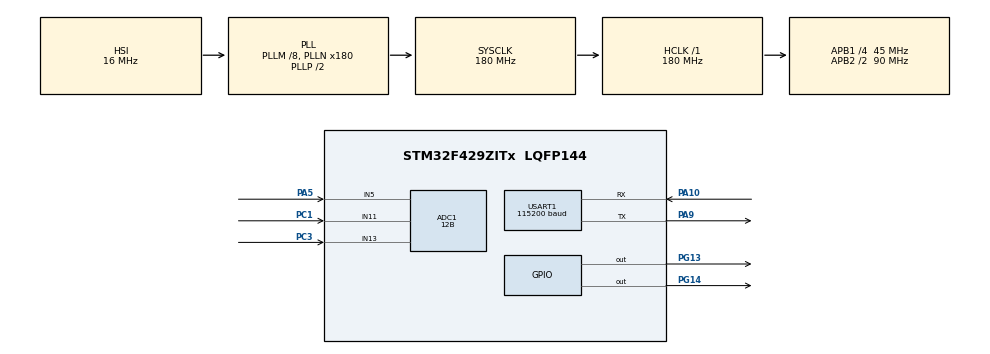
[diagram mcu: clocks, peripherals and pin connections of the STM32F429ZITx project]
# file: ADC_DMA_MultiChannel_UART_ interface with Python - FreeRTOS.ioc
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ADC1.Channel-0\#ChannelRegularConversion=ADC_CHANNEL_11
ADC1.Channel-3\#ChannelRegularConversion=ADC_CHANNEL_13
ADC1.Channel-4\#ChannelRegularConversion=ADC_CHANNEL_5
ADC1.ClockPrescaler=ADC_CLOCK_SYNC_PCLK_DIV4
ADC1.ContinuousConvMode=DISABLE
ADC1.DMAContinuousRequests=ENABLE
ADC1.EOCSelection=ADC_EOC_SINGLE_CONV
ADC1.ExternalTrigConv=ADC_EXTERNALTRIGCONV_T8_TRGO
ADC1.NbrOfConversion=3
ADC1.NbrOfConversionFlag=1
ADC1.Rank-0\#ChannelRegularConversion=1
ADC1.Rank-3\#ChannelRegularConversion=2
ADC1.Rank-4\#ChannelRegularConversion=3
ADC1.Resolution=ADC_RESOLUTION_12B
ADC1.SamplingTime-0\#ChannelRegularConversion=ADC_SAMPLETIME_3CYCLES
ADC1.SamplingTime-3\#ChannelRegularConversion=ADC_SAMPLETIME_3CYCLES
ADC1.SamplingTime-4\#ChannelRegularConversion=ADC_SAMPLETIME_3CYCLES
ADC1.master=1
Dma.ADC1.0.Direction=DMA_PERIPH_TO_MEMORY
Dma.ADC1.0.FIFOMode=DMA_FIFOMODE_DISABLE
Dma.ADC1.0.Instance=DMA2_Stream0
Dma.ADC1.0.MemDataAlignment=DMA_MDATAALIGN_HALFWORD
Dma.ADC1.0.MemInc=DMA_MINC_ENABLE
Dma.ADC1.0.Mode=DMA_CIRCULAR
Dma.ADC1.0.PeriphDataAlignment=DMA_PDATAALIGN_HALFWORD
Dma.ADC1.0.PeriphInc=DMA_PINC_DISABLE
Dma.ADC1.0.Priority=DMA_PRIORITY_LOW
Dma.Request0=ADC1
FREERTOS.CountingSemaphores01=CountingSem1,3,Dynamic,NULL
FREERTOS.Events01=Event,Dynamic,NULL
FREERTOS.Tasks01=Task1,24,128,StartTask1,Default,NULL,Dynamic,NULL,NULL;Task2,32,128,StartTask2,Default,NULL,Dynamic,NULL,NULL;Task3,40,128,StartTask3,Default,NULL,Dynamic,NULL,NULL
FREERTOS.configUSE_NEWLIB_REENTRANT=1
Mcu.Family=STM32F4
Mcu.Name=STM32F429ZITx
Mcu.Package=LQFP144
NVIC.ADC_IRQn=true\:5\:0\:true\:false\:true\:true\:true\:true\:true
NVIC.DMA2_Stream0_IRQn=true\:5\:0\:false\:false\:true\:true\:false\:true\:true
NVIC.PriorityGroup=NVIC_PRIORITYGROUP_4
NVIC.TIM6_DAC_IRQn=true\:0\:0\:true\:false\:true\:false\:false\:true\:true
NVIC.TimeBase=TIM6_DAC_IRQn
NVIC.TimeBaseIP=TIM6
NVIC.USART1_IRQn=true\:5\:0\:true\:false\:true\:true\:true\:true\:true
PA10.Mode=Asynchronous
PA10.Signal=USART1_RX
PA5.Signal=ADCx_IN5
PA9.Mode=Asynchronous
PA9.Signal=USART1_TX
PC1.Signal=ADCx_IN11
PC3.Signal=ADCx_IN13
PG13.Signal=GPIO_Output
PG14.Signal=GPIO_Output
ProjectManager.HeapSize=0x200
ProjectManager.StackSize=0x400
ProjectManager.TargetToolchain=STM32CubeIDE
RCC.48MHZClocksFreq_Value=51428571.428571425
RCC.AHBFreq_Value=180000000
RCC.APB1CLKDivider=RCC_HCLK_DIV4
RCC.APB1Freq_Value=45000000
RCC.APB1TimFreq_Value=90000000
RCC.APB2CLKDivider=RCC_HCLK_DIV2
RCC.APB2Freq_Value=90000000
RCC.APB2TimFreq_Value=180000000
RCC.CortexFreq_Value=180000000
RCC.HCLKFreq_Value=180000000
RCC.HSE_VALUE=8000000
RCC.HSI_VALUE=16000000
RCC.LSE_VALUE=32768
RCC.PLLM=8
RCC.PLLN=180
RCC.PLLQ=7
RCC.SYSCLKFreq_VALUE=180000000
RCC.SYSCLKSource=RCC_SYSCLKSOURCE_PLLCLK
RCC.VCOOutputFreq_Value=360000000
SH.ADCx_IN11.0=ADC1_IN11,IN11
SH.ADCx_IN13.0=ADC1_IN13,IN13
SH.ADCx_IN5.0=ADC1_IN5,IN5
TIM8.Period=100-1
TIM8.Prescaler=18000-1
TIM8.TIM_MasterOutputTrigger=TIM_TRGO_UPDATE
USART1.BaudRate=115200
USART1.OverSampling=UART_OVERSAMPLING_8
USART1.VirtualMode=VM_ASYNC
VP_FREERTOS_VS_CMSIS_V2.Mode=CMSIS_V2
VP_SYS_VS_tim6.Mode=TIM6
VP_TIM8_VS_ClockSourceINT.Mode=Internal
board=STM32F429I-DISC1

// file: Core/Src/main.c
/* USER CODE BEGIN Header */
/**
  ******************************************************************************
  * @file           : main.c
  * @brief          : Main program body
  ******************************************************************************
  * @attention
  *
  * Copyright (c) 2024 STMicroelectronics.
  * All rights reserved.
  *
  * This software is licensed under terms that can be found in the LICENSE file
  * in the root directory of this software component.
  * If no LICENSE file comes with this software, it is provided AS-IS.
  *
  ******************************************************************************
  */

	/***************************** Tutorial Tags ******************************
	 ADC triggered by Timer
	 UART data communication to PC
	 Python for control STM32 and reading/ plotting data
	 FreeRTOS implmentation:
	 Tasks (priorities, states),
	 Events,
	 Queues,
	 Semaphores,
	 Memory pool
	 **************************************************************************/

	/* *************************************************************************
	* Application: ADC_DMA_MultiChannel_UART_ interface with Python - FreeRTOS
	*

    We repeat implementation of the previous project "ADC_DMA_MultiChannel_UART_ interface with Python"
    with FreeRTOS implementation.

    Configure three tasks (threads): one task with High priority is triggered with an interrupt
    sent from Python. This task start ADC and Timer for sampling three potentiometers. The second task
    set with Above normal priority convert the ADC data into float, and calculacte the average of 10
    measurements for each of the three ADC channels. The averaged data is sent in a memory queue to Task
    3, which set in normal priority that is resposnsible to send the average data via UART to PC, where
    Python code process and plot the data.

    Python is able to start or stop ADC acquisition via flags sent to MCU. (more information can be found from
    previous project with bare metal implementation)

    Demonstration of this project is shown with figures in the subfolder results of this project

    Python code can be found in the subfolder  "Python client"

    ****************************************************************************
    Calculation of specs used by this application:
    ADC freq  = APB2/4 = 90 MHz/4 = 22.5 MHz
    Max Sample rate for ADC = 22.5 MHz / (15 cycles) = 1.5 MS/s
    Max allowed freq timer for ADC trig = 1.5 M / N_Channels scanned
    Freq_Timer = 100 Hz.
    So for 1 scanned Channel: DMA for 10 measurements is 10 Hz
    for 3 scanned Channels: DMA for 30 measurements is 10 Hz
    because channels are sampled sequentially at ADC sampling rate. :-)
	***************************************************************************/

/* USER CODE END Header */
#include "main.h"
#include "cmsis_os.h"

/* USER CODE BEGIN Includes */
#include<math.h>
#include "stdio.h"
#include "string.h"

/* USER CODE END Includes */

/* USER CODE BEGIN PD */
/*Size of DMA buffer*/
#define length 30
/*Number of ADC Channels*/
#define NCh 3

#define FLAG 0x05
/* USER CODE END PD */

ADC_HandleTypeDef hadc1;
DMA_HandleTypeDef hdma_adc1;

TIM_HandleTypeDef htim8;

UART_HandleTypeDef huart1;

/********************************Definition tasks******************************/
osThreadId_t Task1Handle;
const osThreadAttr_t Task1_attributes = {
  .name = "Task1",
  .stack_size = 128 * 4,
  .priority = (osPriority_t) osPriorityNormal,
};

osThreadId_t Task2Handle;
const osThreadAttr_t Task2_attributes = {
  .name = "Task2",
  .stack_size = 128 * 4,
  .priority = (osPriority_t) osPriorityAboveNormal,
};

osThreadId_t Task3Handle;
const osThreadAttr_t Task3_attributes = {
  .name = "Task3",
  .stack_size = 128 * 4,
  .priority = (osPriority_t) osPriorityHigh,
};

/****************************  Definition Semaphopres  **************************/
osSemaphoreId_t CountingSem1Handle;
const osSemaphoreAttr_t CountingSem1_attributes = {
  .name = "CountingSem1",
};
/******************************** Definition Events  ***************************/
osEventFlagsId_t EventHandle;
const osEventFlagsAttr_t Event_attributes = {
  .name = "Event",
};

/********************************Definition queues******************************/
osMessageQueueId_t Queue1Handle;
osMessageQueueAttr_t Queue1_attributes = {
		.name = "Queue1",
};

/********************************Definition Memory pool***************************/
osMemoryPoolId_t MemoryPoolHandle;
osMemoryPoolAttr_t MemoryPool_attributes = {
		.name = "MemoryPool",
};

/* USER CODE BEGIN PV */
/*DMA Data buffer for ADC conversions*/
uint16_t  pData[length];

uint16_t counter = 0;

float ADC_Ave [NCh], Vref = 2.92;

float ADC_CONV [NCh];

/*Counter for number of end of conversions by the ADC for size of DMA buffer*/

/*Byte to be received from COM port by UART*/
uint8_t recData;
//uint8_t recData = 'g';

/* USER CODE END PV */

void SystemClock_Config(void);
static void MX_GPIO_Init(void);
static void MX_DMA_Init(void);
static void MX_USART1_UART_Init(void);
static void MX_ADC1_Init(void);
static void MX_TIM8_Init(void);
void StartTask1(void *argument);
void StartTask2(void *argument);
void StartTask3(void *argument);

/* USER CODE BEGIN 0 */
int _write(int file, char *ptr, int len){
	  int i = 0;
	  for (i=0; i<len; i++)
		  ITM_SendChar((*ptr++));
	  return len;
}
/* USER CODE END 0 */

int main(void)
{

  /* MCU Configuration--------------------------------------------------------*/

  /* Reset of all peripherals, Initializes the Flash interface and the Systick. */
  HAL_Init();

  /* Configure the system clock */
  SystemClock_Config();

  /* Initialize all configured peripherals */
  MX_GPIO_Init();
  MX_DMA_Init();
  MX_USART1_UART_Init();
  MX_ADC1_Init();
  MX_TIM8_Init();
  /* USER CODE BEGIN 2 */

  printf("PROGRAM START \n\r");
  // Clear timer update flag in case it is set at start
  if (__HAL_TIM_GET_FLAG(&htim8 , TIM_FLAG_UPDATE) != RESET)
  __HAL_TIM_CLEAR_FLAG(&htim8 , TIM_FLAG_UPDATE);

  /*Start UART in interrupt mode, to waiting for message from Python client */
  HAL_UART_Receive_IT(&huart1, &recData, 1);

  //HAL_TIM_Base_Start(&htim8);
//	  /*Start ADC with DMA*/
//	  /* Start ADC sampling using DMA */
  //HAL_ADC_Start_DMA(&hadc1, (uint32_t *) pData, length);

  /* USER CODE END 2 */

  /* Init scheduler */
  osKernelInitialize();

  /* Create the semaphores(s) */
  /* creation of CountingSem1 */

  /* USER CODE BEGIN RTOS_QUEUES */
  Queue1Handle =  osMessageQueueNew(1, sizeof(ADC_CONV), &Queue1_attributes);
  /* USER CODE END RTOS_QUEUES */

  /* Create the thread(s) */
  /* creation of Task1 */
  Task1Handle = osThreadNew(StartTask1, NULL, &Task1_attributes);

  /* creation of Task2 */
  Task2Handle = osThreadNew(StartTask2, NULL, &Task2_attributes);

  /* creation of Task3 */
  Task3Handle = osThreadNew(StartTask3, NULL, &Task3_attributes);

  /* Create the event(s) */
  /* creation of Event */
  EventHandle = osEventFlagsNew(&Event_attributes);

  /* Start scheduler */
  osKernelStart();

  /* We should never get here as control is now taken by the scheduler */
  /* Infinite loop */
  while (1)
  {

  }
}

void SystemClock_Config(void)
{
  RCC_OscInitTypeDef RCC_OscInitStruct = {0};
  RCC_ClkInitTypeDef RCC_ClkInitStruct = {0};

  /** Configure the main internal regulator output voltage
  */
  __HAL_RCC_PWR_CLK_ENABLE();
  __HAL_PWR_VOLTAGESCALING_CONFIG(PWR_REGULATOR_VOLTAGE_SCALE1);

  /** Initializes the RCC Oscillators according to the specified parameters
  * in the RCC_OscInitTypeDef structure.
  */
  RCC_OscInitStruct.OscillatorType = RCC_OSCILLATORTYPE_HSI;
  RCC_OscInitStruct.HSIState = RCC_HSI_ON;
  RCC_OscInitStruct.HSICalibrationValue = RCC_HSICALIBRATION_DEFAULT;
  RCC_OscInitStruct.PLL.PLLState = RCC_PLL_ON;
  RCC_OscInitStruct.PLL.PLLSource = RCC_PLLSOURCE_HSI;
  RCC_OscInitStruct.PLL.PLLM = 8;
  RCC_OscInitStruct.PLL.PLLN = 180;
  RCC_OscInitStruct.PLL.PLLP = RCC_PLLP_DIV2;
  RCC_OscInitStruct.PLL.PLLQ = 7;
  if (HAL_RCC_OscConfig(&RCC_OscInitStruct) != HAL_OK)
  {
    Error_Handler();
  }

  /** Activate the Over-Drive mode
  */
  if (HAL_PWREx_EnableOverDrive() != HAL_OK)
  {
    Error_Handler();
  }

  /** Initializes the CPU, AHB and APB buses clocks
  */
  RCC_ClkInitStruct.ClockType = RCC_CLOCKTYPE_HCLK|RCC_CLOCKTYPE_SYSCLK
                              |RCC_CLOCKTYPE_PCLK1|RCC_CLOCKTYPE_PCLK2;
  RCC_ClkInitStruct.SYSCLKSource = RCC_SYSCLKSOURCE_PLLCLK;
  RCC_ClkInitStruct.AHBCLKDivider = RCC_SYSCLK_DIV1;
  RCC_ClkInitStruct.APB1CLKDivider = RCC_HCLK_DIV4;
  RCC_ClkInitStruct.APB2CLKDivider = RCC_HCLK_DIV2;

  if (HAL_RCC_ClockConfig(&RCC_ClkInitStruct, FLASH_LATENCY_5) != HAL_OK)
  {
    Error_Handler();
  }
}

static void MX_ADC1_Init(void)
{

  ADC_ChannelConfTypeDef sConfig = {0};

  /** Configure the global features of the ADC (Clock, Resolution, Data Alignment and number of conversion)
  */
  hadc1.Instance = ADC1;
  hadc1.Init.ClockPrescaler = ADC_CLOCK_SYNC_PCLK_DIV4;
  hadc1.Init.Resolution = ADC_RESOLUTION_12B;
  hadc1.Init.ScanConvMode = ENABLE;
  hadc1.Init.ContinuousConvMode = DISABLE;
  hadc1.Init.DiscontinuousConvMode = DISABLE;
  hadc1.Init.ExternalTrigConvEdge = ADC_EXTERNALTRIGCONVEDGE_RISING;
  hadc1.Init.ExternalTrigConv = ADC_EXTERNALTRIGCONV_T8_TRGO;
  hadc1.Init.DataAlign = ADC_DATAALIGN_RIGHT;
  hadc1.Init.NbrOfConversion = 3;
  hadc1.Init.DMAContinuousRequests = ENABLE;
  hadc1.Init.EOCSelection = ADC_EOC_SINGLE_CONV;
  if (HAL_ADC_Init(&hadc1) != HAL_OK)
  {
    Error_Handler();
  }

  /** Configure for the selected ADC regular channel its corresponding rank in the sequencer and its sample time.
  */
  sConfig.Channel = ADC_CHANNEL_11;
  sConfig.Rank = 1;
  sConfig.SamplingTime = ADC_SAMPLETIME_3CYCLES;
  if (HAL_ADC_ConfigChannel(&hadc1, &sConfig) != HAL_OK)
  {
    Error_Handler();
  }

  /** Configure for the selected ADC regular channel its corresponding rank in the sequencer and its sample time.
  */
  sConfig.Channel = ADC_CHANNEL_13;
  sConfig.Rank = 2;
  if (HAL_ADC_ConfigChannel(&hadc1, &sConfig) != HAL_OK)
  {
    Error_Handler();
  }

  /** Configure for the selected ADC regular channel its corresponding rank in the sequencer and its sample time.
  */
  sConfig.Channel = ADC_CHANNEL_5;
  sConfig.Rank = 3;
  if (HAL_ADC_ConfigChannel(&hadc1, &sConfig) != HAL_OK)
  {
    Error_Handler();
  }

}

static void MX_TIM8_Init(void)
{

  TIM_ClockConfigTypeDef sClockSourceConfig = {0};
  TIM_MasterConfigTypeDef sMasterConfig = {0};

  htim8.Instance = TIM8;
  htim8.Init.Prescaler = 18000-1;
  htim8.Init.CounterMode = TIM_COUNTERMODE_UP;
  htim8.Init.Period = 100-1;
  htim8.Init.ClockDivision = TIM_CLOCKDIVISION_DIV1;
  htim8.Init.RepetitionCounter = 0;
  htim8.Init.AutoReloadPreload = TIM_AUTORELOAD_PRELOAD_DISABLE;
  if (HAL_TIM_Base_Init(&htim8) != HAL_OK)
  {
    Error_Handler();
  }
  sClockSourceConfig.ClockSource = TIM_CLOCKSOURCE_INTERNAL;
  if (HAL_TIM_ConfigClockSource(&htim8, &sClockSourceConfig) != HAL_OK)
  {
    Error_Handler();
  }
  sMasterConfig.MasterOutputTrigger = TIM_TRGO_UPDATE;
  sMasterConfig.MasterSlaveMode = TIM_MASTERSLAVEMODE_DISABLE;
  if (HAL_TIMEx_MasterConfigSynchronization(&htim8, &sMasterConfig) != HAL_OK)
  {
    Error_Handler();
  }

}

static void MX_USART1_UART_Init(void)
{

  huart1.Instance = USART1;
  huart1.Init.BaudRate = 115200;
  huart1.Init.WordLength = UART_WORDLENGTH_8B;
  huart1.Init.StopBits = UART_STOPBITS_1;
  huart1.Init.Parity = UART_PARITY_NONE;
  huart1.Init.Mode = UART_MODE_TX_RX;
  huart1.Init.HwFlowCtl = UART_HWCONTROL_NONE;
  huart1.Init.OverSampling = UART_OVERSAMPLING_8;
  if (HAL_UART_Init(&huart1) != HAL_OK)
  {
    Error_Handler();
  }

}

static void MX_DMA_Init(void)
{

  /* DMA controller clock enable */
  __HAL_RCC_DMA2_CLK_ENABLE();

  /* DMA interrupt init */
  /* DMA2_Stream0_IRQn interrupt configuration */
  HAL_NVIC_SetPriority(DMA2_Stream0_IRQn, 5, 0);
  HAL_NVIC_EnableIRQ(DMA2_Stream0_IRQn);

}

static void MX_GPIO_Init(void)
{
  GPIO_InitTypeDef GPIO_InitStruct = {0};

  /* GPIO Ports Clock Enable */
  __HAL_RCC_GPIOC_CLK_ENABLE();
  __HAL_RCC_GPIOA_CLK_ENABLE();
  __HAL_RCC_GPIOG_CLK_ENABLE();

  /*Configure GPIO pin Output Level */
  HAL_GPIO_WritePin(GPIOG, GPIO_PIN_13|GPIO_PIN_14, GPIO_PIN_RESET);

  /*Configure GPIO pins : PG13 PG14 */
  GPIO_InitStruct.Pin = GPIO_PIN_13|GPIO_PIN_14;
  GPIO_InitStruct.Mode = GPIO_MODE_OUTPUT_PP;
  GPIO_InitStruct.Pull = GPIO_NOPULL;
  GPIO_InitStruct.Speed = GPIO_SPEED_FREQ_LOW;
  HAL_GPIO_Init(GPIOG, &GPIO_InitStruct);

}

void StartTask1(void *argument)
{
  // USER CODE BEGIN 5

  int ret;

	// Infinite loop
  for(;;)
  {
	osSemaphoreAcquire(CountingSem1Handle, osWaitForever);

	ret = osMessageQueueGet(Queue1Handle, ADC_CONV , (uint8_t*) osPriorityNormal, osWaitForever);
	if (ret!=0){
		printf("Error retrieving data \n");
	}
	else {
		//Transmit data to client over UART
		if(ADC_CONV[0] > 0){
			HAL_UART_Transmit(&huart1, (uint8_t*) ADC_CONV, 12, 5000);
			HAL_Delay(100);
		}
	}

    osDelay(1);
  }
   //USER CODE END 5
}

void StartTask2(void *argument)
{
   //USER CODE BEGIN StartTask2

	int ret;
	float * ADC_Ave_V;

	MemoryPoolHandle = osMemoryPoolNew(10, sizeof(ADC_Ave_V), &MemoryPool_attributes);
   //Infinite loop
  for(;;)
  {

	osSemaphoreAcquire(CountingSem1Handle, osWaitForever);

	ADC_Ave_V =  (float *) osMemoryPoolAlloc(MemoryPoolHandle, 0U);

	uint32_t average = 0;

	for (int i = 0; i < NCh; i++){
	for (int j = 0; j < length/NCh; j++){
		average += pData[j*NCh+i];
	}
	//Digital value 0-4095
	ADC_Ave[i] = (float) (average / (length/NCh));
	//Convert to voltage
	ADC_Ave_V[i] = (float) (Vref/pow(2,12))* ADC_Ave [i];
	average = 0;
	}

	ret = osMessageQueuePut(Queue1Handle, ADC_Ave_V, osPriorityNormal, osWaitForever);

	if (ret!=0){
		  printf("Error putting data in queue\n");
	}
	else {
		// Free the block of memory
		ret = osMemoryPoolFree(MemoryPoolHandle , ADC_Ave_V);
		if (ret !=0)
			printf("Error freeing memory from memory pool\n");
	}

    ///osThreadYield();
	  osDelay(1);
  }
  // USER CODE END StartTask2
}

void StartTask3(void *argument)
{
  /* USER CODE BEGIN StartTask3 */

  /* Infinite loop */
  for(;;)
  {
	  osEventFlagsWait(EventHandle, FLAG, osFlagsWaitAny, osWaitForever);
	  printf("inside task \n");
		if(recData == 'g'){
			  /*Message to start ADC received!, turn on the red led*/
			HAL_GPIO_WritePin(GPIOG, GPIO_PIN_14, GPIO_PIN_SET);
			  /*Start the timer*/
			HAL_TIM_Base_Start(&htim8);
			  /*Start ADC with DMA*/
			  /* Start ADC sampling using DMA */
		    HAL_ADC_Start_DMA(&hadc1, (uint32_t *) pData, length);
		}

		else if (recData == 'r'){
			/*Turn off red led*/
			HAL_GPIO_WritePin(GPIOG, GPIO_PIN_14, GPIO_PIN_RESET);
			/*Turn off red led*/
			HAL_GPIO_WritePin(GPIOG, GPIO_PIN_13, GPIO_PIN_RESET);
			/*Stop the timer*/
			HAL_TIM_Base_Stop(&htim8);
		}

		osEventFlagsClear(EventHandle, FLAG);

		 // Need to put this to generate an interrupt for the next reception of byte

		recData = 'n';
		// Terminate the task and move to the next one.

		// osThreadTerminate(Task3Handle);

		osDelay(1000);
  }
  /* USER CODE END StartTask3 */
}

/*Callback function to receive message from Python client*/
void HAL_UART_RxCpltCallback(UART_HandleTypeDef *huart)
{
	// Set flag when MCU receives message from python client

	printf("inside interrupt \n\r");
	osEventFlagsSet(EventHandle, FLAG);
	__NOP();
	HAL_UART_Receive_IT(&huart1 , &recData , 1);
}

/*Callback function for data acquisition*/
void HAL_ADC_ConvCpltCallback(ADC_HandleTypeDef *hadc)
{
	CountingSem1Handle = osSemaphoreNew(2, 2, &CountingSem1_attributes);
	/*Toggle green led for every ADC conversion*/
	HAL_GPIO_TogglePin(GPIOG, GPIO_PIN_13);

}

void HAL_TIM_PeriodElapsedCallback(TIM_HandleTypeDef *htim)
{
  if (htim->Instance == TIM6) {
    HAL_IncTick();
  }
}

void Error_Handler(void)
{
  __disable_irq();
  while (1)
  {
  }
}
